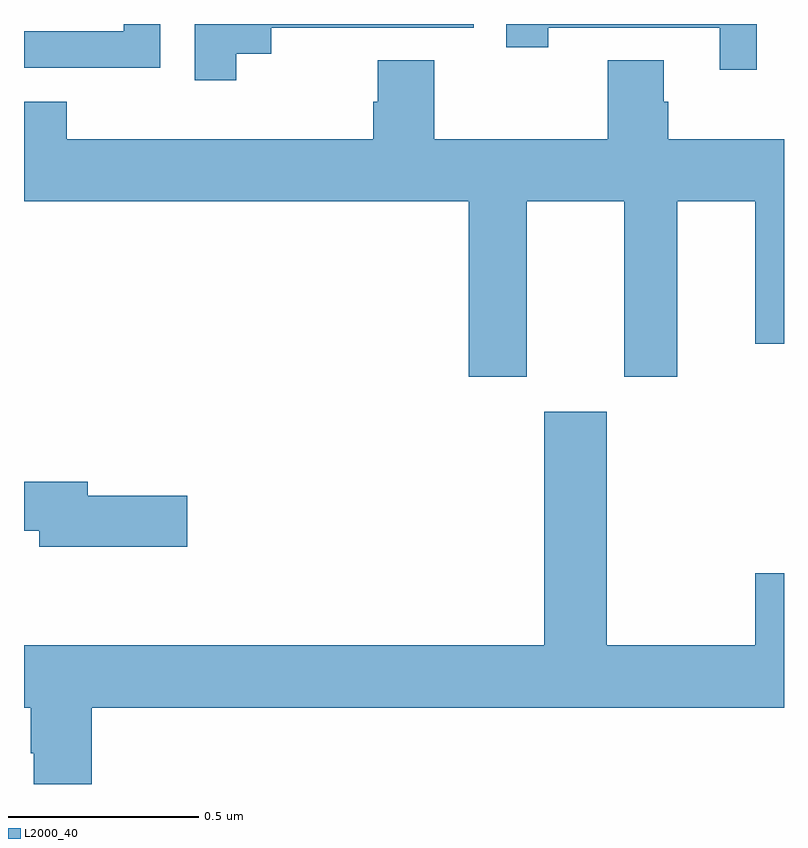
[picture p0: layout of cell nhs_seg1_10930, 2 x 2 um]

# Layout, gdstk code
import gdstk
lib = gdstk.Library(unit=1e-6, precision=1e-09)
def P(c, l, *ps):  # polygons
    for p in ps: c.add(gdstk.Polygon(p, *l))
L2000_40 = (2000, 40)

nhs_seg1_10930 = lib.new_cell('nhs_seg1_10930')
P(nhs_seg1_10930, L2000_40, [(248.928,552.199),(248.269,552.199),(248.269,552.138),(248.38,552.138),(248.38,552.189),(248.831,552.189),(248.831,552.078),(248.928,552.078)],
  [(247.359,552.199),(247.263,552.199),(247.263,552.18),(247,552.18),(247,552.084),(247.359,552.084)],
  [(247.558,552.121),(247.65,552.121),(247.65,552.189),(248.184,552.189),(248.184,552.199),(247.449,552.199),(247.449,552.051),(247.558,552.051)],
  [(248.323,551.732),(248.579,551.732),(248.579,551.271),(248.719,551.271),(248.719,551.732),(248.924,551.732),(248.924,551.358),(249,551.358),(249,551.896),(248.696,551.896),(248.696,551.994),(248.683,551.994),(248.683,552.104),(248.536,552.104),(248.536,551.896),(248.079,551.896),(248.079,552.104),(247.931,552.104),(247.931,551.994),(247.919,551.994),(247.919,551.896),(247.112,551.896),(247.112,551.995),(247,551.995),(247,551.732),(248.171,551.732),(248.171,551.271),(248.323,551.271)],
  [(247.178,550.4),(249,550.4),(249,550.753),(248.924,550.753),(248.924,550.564),(248.533,550.564),(248.533,551.179),(248.369,551.179),(248.369,550.564),(247,550.564),(247,550.4),(247.018,550.4),(247.018,550.28),(247.025,550.28),(247.025,550.199),(247.178,550.199)],
  [(247.429,550.958),(247.168,550.958),(247.168,550.994),(247,550.994),(247,550.866),(247.04,550.866),(247.04,550.823),(247.429,550.823)])

lib.write_gds('nhs_seg1_10930.gds')
